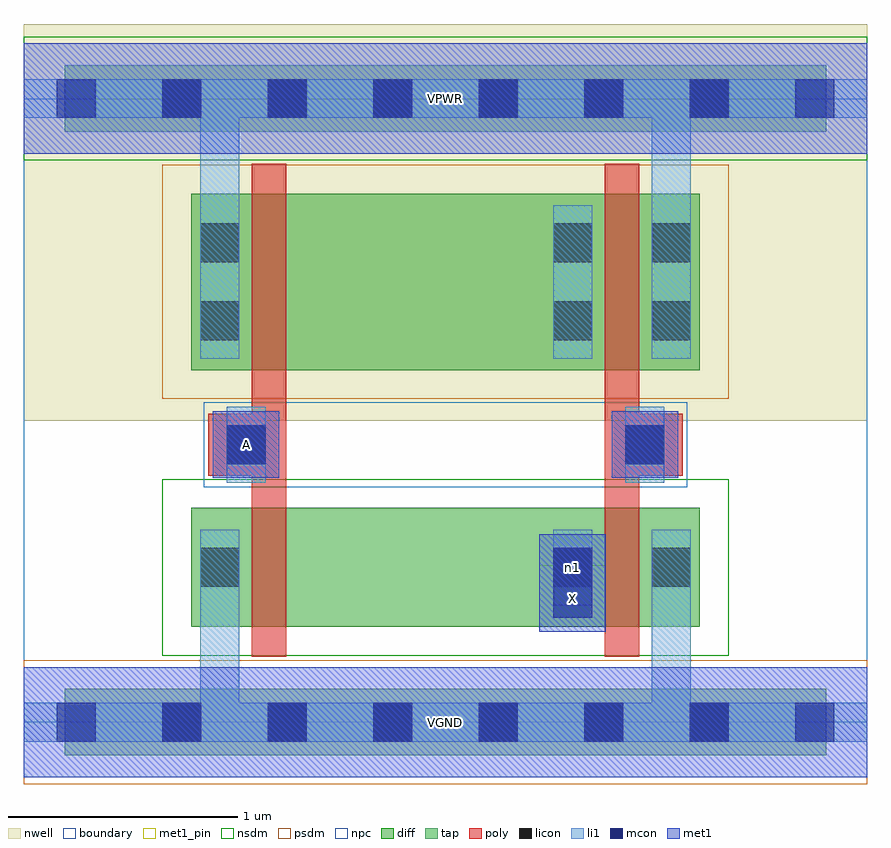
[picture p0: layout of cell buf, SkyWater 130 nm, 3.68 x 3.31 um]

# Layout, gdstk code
import gdstk
lib = gdstk.Library(unit=1e-6, precision=1e-09)
def R(c, l, rs):  # rectangles x0, y0, x1, y1
    for r in rs: c.add(gdstk.rectangle(r[:2], r[2:], *l))
def A(c, l, x, y, w, h, nx, ny, dx, dy):  # array of equal rectangles
    R(c, l, [(x+i*dx, y+j*dy, x+i*dx+w, y+j*dy+h) for i in range(nx) for j in range(ny)])
nwell = (64, 20)
diff = (65, 20)
tap = (65, 44)
poly = (66, 20)
licon = (66, 44)
li1 = (67, 20)
mcon = (67, 44)
met1_pin = (68, 16)
met1 = (68, 20)
nsdm = (93, 44)
psdm = (94, 20)
npc = (95, 20)
boundary = (235, 4)

buf = lib.new_cell('buf')
R(buf, nwell, [(0,1.315,3.68,3.045)])
R(buf, diff, [(0.73,0.415,2.95,0.935), (0.73,1.535,2.95,2.305)])
R(buf, tap, [(0.18,-0.145,3.5,0.145), (0.18,2.575,3.5,2.865)])
R(buf, poly, [(0.995,0.285,1.145,2.435), (2.535,0.285,2.685,2.435), (0.805,1.075,1.135,1.345), (2.545,1.075,2.875,1.345)])
A(buf, licon, 0.605, -0.085, 0.17, 0.17, 6, 2, 0.46, 2.72)
R(buf, licon, [(0.77,0.59,0.94,0.76), (2.31,0.59,2.48,0.76), (2.74,0.59,2.91,0.76), (0.885,1.125,1.055,1.295), (2.625,1.125,2.795,1.295), (0.77,1.665,0.94,1.835), (2.31,1.665,2.48,1.835), (2.74,1.665,2.91,1.835), (0.77,2.005,0.94,2.175), (2.31,2.005,2.48,2.175), (2.74,2.005,2.91,2.175)])
R(buf, li1, [(0,-0.085,3.68,0.085), (0.77,-0.085,0.94,0.84), (2.74,-0.085,2.91,0.84), (0.77,0.51,0.94,0.84), (2.31,0.51,2.48,0.84), (2.74,0.51,2.91,0.84), (0.885,1.045,1.055,1.375), (2.625,1.045,2.795,1.375), (0.77,1.585,0.94,2.255), (0.77,1.585,0.94,2.805), (2.31,1.585,2.48,2.255), (2.74,1.585,2.91,2.255), (2.74,1.585,2.91,2.805), (0,2.635,3.68,2.805)])
A(buf, mcon, 0.145, -0.085, 0.17, 0.17, 8, 2, 0.46, 2.72)
R(buf, mcon, [(2.31,0.455,2.48,0.625), (2.31,0.59,2.48,0.76), (0.885,1.125,1.055,1.295), (2.625,1.125,2.795,1.295)])
R(buf, met1_pin, [(0,-0.24,3.68,0.24), (2.25,0.395,2.54,0.685), (0.825,1.065,1.115,1.355), (0,2.48,3.68,2.96)])
R(buf, met1, [(0,-0.24,3.68,0.24), (2.25,0.395,2.54,0.685), (2.25,0.53,2.54,0.82), (0.825,1.065,1.115,1.355), (2.565,1.065,2.855,1.355), (0,2.48,3.68,2.96)])
R(buf, nsdm, [(0.605,0.29,3.075,1.06), (0,2.45,3.68,2.99)])
R(buf, psdm, [(0,-0.27,3.68,0.27), (0.605,1.41,3.075,2.43)])
R(buf, npc, [(0.785,1.025,2.895,1.395)])
R(buf, boundary, [(0,0,3.68,2.72)])
buf.add(gdstk.Label('n1', (2.395,0.675), layer=67, texttype=5))
buf.add(gdstk.Label('A', (0.97,1.21), layer=68, texttype=5))
buf.add(gdstk.Label('X', (2.395,0.54), layer=68, texttype=5))
buf.add(gdstk.Label('VPWR', (1.84,2.72), layer=68, texttype=5))
buf.add(gdstk.Label('VGND', (1.84,0), layer=68, texttype=5))
buf.add(gdstk.Label('A', (0.97,1.21), layer=68, texttype=16))
buf.add(gdstk.Label('X', (2.395,0.54), layer=68, texttype=16))
buf.add(gdstk.Label('VPWR', (1.84,2.72), layer=68, texttype=16))
buf.add(gdstk.Label('VGND', (1.84,0), layer=68, texttype=16))

lib.write_gds('buf.gds')
